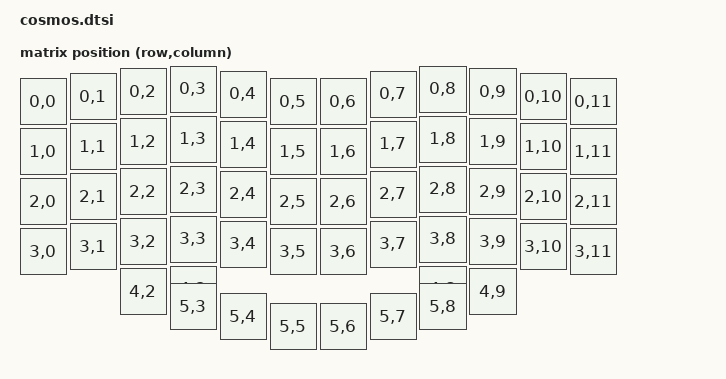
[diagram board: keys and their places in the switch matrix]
#include <dt-bindings/zmk/matrix_transform.h>
#include <physical_layouts.dtsi>

/ {
    chosen {
        zmk,kscan = &kscan0;
        zmk,physical-layout = &default_layout;
    };

    default_transform: keymap_transform_0 {
        compatible = "zmk,matrix-transform";
        columns = <12>;
        rows = <6>;
        map = <
        // Row 1 (numbers row, 6 keys per side)
        RC(0,0) RC(0,1) RC(0,2) RC(0,3) RC(0,4) RC(0,5) RC(0,6) RC(0,7) RC(0,8) RC(0,9) RC(0,10) RC(0,11)
        // Row 2
        RC(1,0) RC(1,1) RC(1,2) RC(1,3) RC(1,4) RC(1,5) RC(1,6) RC(1,7) RC(1,8) RC(1,9) RC(1,10) RC(1,11)
        // Row 3
        RC(2,0) RC(2,1) RC(2,2) RC(2,3) RC(2,4) RC(2,5) RC(2,6) RC(2,7) RC(2,8) RC(2,9) RC(2,10) RC(2,11)
        // Row 4
        RC(3,0) RC(3,1) RC(3,2) RC(3,3) RC(3,4) RC(3,5) RC(3,6) RC(3,7) RC(3,8) RC(3,9) RC(3,10) RC(3,11)
        // Row 5 (2 keys per side, cols 3-4)
        RC(4,2) RC(4,3)                                                         RC(4,8) RC(4,9)
        // Row 6 (thumb cluster, 3 keys per side, inner columns)
                                RC(5,3) RC(5,4) RC(5,5) RC(5,6) RC(5,7) RC(5,8)
        >;
    };

    // Approximate visual layout for ZMK Studio's key map editor. Positions use a
    // standard columnar-stagger curve rather than measured PCB coordinates, since
    // Studio requires a physical layout with a `keys` property (and no chosen
    // matrix-transform) to function - the coordinates only affect the on-screen
    // rendering, not scanning or key behavior. Order matches default_transform's map.
    default_layout: default_layout {
        compatible = "zmk,physical-layout";
        display-name = "Cosmos";
        transform = <&default_transform>;
        kscan = <&kscan0>;
        keys
            //                     w   h    x    y   rot  rx  ry
            = <&key_physical_attrs 100 100    0   10   0   0   0>  // RC(0,0)
            , <&key_physical_attrs 100 100  100    0   0   0   0>  // RC(0,1)
            , <&key_physical_attrs 100 100  200  (-10)   0   0   0>  // RC(0,2)
            , <&key_physical_attrs 100 100  300  (-15)   0   0   0>  // RC(0,3)
            , <&key_physical_attrs 100 100  400   (-5)   0   0   0>  // RC(0,4)
            , <&key_physical_attrs 100 100  500   10   0   0   0>  // RC(0,5)
            , <&key_physical_attrs 100 100  600   10   0   0   0>  // RC(0,6)
            , <&key_physical_attrs 100 100  700   (-5)   0   0   0>  // RC(0,7)
            , <&key_physical_attrs 100 100  800  (-15)   0   0   0>  // RC(0,8)
            , <&key_physical_attrs 100 100  900  (-10)   0   0   0>  // RC(0,9)
            , <&key_physical_attrs 100 100 1000    0   0   0   0>  // RC(0,10)
            , <&key_physical_attrs 100 100 1100   10   0   0   0>  // RC(0,11)
            , <&key_physical_attrs 100 100    0  110   0   0   0>  // RC(1,0)
            , <&key_physical_attrs 100 100  100  100   0   0   0>  // RC(1,1)
            , <&key_physical_attrs 100 100  200   90   0   0   0>  // RC(1,2)
            , <&key_physical_attrs 100 100  300   85   0   0   0>  // RC(1,3)
            , <&key_physical_attrs 100 100  400   95   0   0   0>  // RC(1,4)
            , <&key_physical_attrs 100 100  500  110   0   0   0>  // RC(1,5)
            , <&key_physical_attrs 100 100  600  110   0   0   0>  // RC(1,6)
            , <&key_physical_attrs 100 100  700   95   0   0   0>  // RC(1,7)
            , <&key_physical_attrs 100 100  800   85   0   0   0>  // RC(1,8)
            , <&key_physical_attrs 100 100  900   90   0   0   0>  // RC(1,9)
            , <&key_physical_attrs 100 100 1000  100   0   0   0>  // RC(1,10)
            , <&key_physical_attrs 100 100 1100  110   0   0   0>  // RC(1,11)
            , <&key_physical_attrs 100 100    0  210   0   0   0>  // RC(2,0)
            , <&key_physical_attrs 100 100  100  200   0   0   0>  // RC(2,1)
            , <&key_physical_attrs 100 100  200  190   0   0   0>  // RC(2,2)
            , <&key_physical_attrs 100 100  300  185   0   0   0>  // RC(2,3)
            , <&key_physical_attrs 100 100  400  195   0   0   0>  // RC(2,4)
            , <&key_physical_attrs 100 100  500  210   0   0   0>  // RC(2,5)
            , <&key_physical_attrs 100 100  600  210   0   0   0>  // RC(2,6)
            , <&key_physical_attrs 100 100  700  195   0   0   0>  // RC(2,7)
            , <&key_physical_attrs 100 100  800  185   0   0   0>  // RC(2,8)
            , <&key_physical_attrs 100 100  900  190   0   0   0>  // RC(2,9)
            , <&key_physical_attrs 100 100 1000  200   0   0   0>  // RC(2,10)
            , <&key_physical_attrs 100 100 1100  210   0   0   0>  // RC(2,11)
            , <&key_physical_attrs 100 100    0  310   0   0   0>  // RC(3,0)
            , <&key_physical_attrs 100 100  100  300   0   0   0>  // RC(3,1)
            , <&key_physical_attrs 100 100  200  290   0   0   0>  // RC(3,2)
            , <&key_physical_attrs 100 100  300  285   0   0   0>  // RC(3,3)
            , <&key_physical_attrs 100 100  400  295   0   0   0>  // RC(3,4)
            , <&key_physical_attrs 100 100  500  310   0   0   0>  // RC(3,5)
            , <&key_physical_attrs 100 100  600  310   0   0   0>  // RC(3,6)
            , <&key_physical_attrs 100 100  700  295   0   0   0>  // RC(3,7)
            , <&key_physical_attrs 100 100  800  285   0   0   0>  // RC(3,8)
            , <&key_physical_attrs 100 100  900  290   0   0   0>  // RC(3,9)
            , <&key_physical_attrs 100 100 1000  300   0   0   0>  // RC(3,10)
            , <&key_physical_attrs 100 100 1100  310   0   0   0>  // RC(3,11)
            , <&key_physical_attrs 100 100  200  390   0   0   0>  // RC(4,2)
            , <&key_physical_attrs 100 100  300  385   0   0   0>  // RC(4,3)
            , <&key_physical_attrs 100 100  800  385   0   0   0>  // RC(4,8)
            , <&key_physical_attrs 100 100  900  390   0   0   0>  // RC(4,9)
            , <&key_physical_attrs 100 100  300  420   0   0   0>  // RC(5,3)
            , <&key_physical_attrs 100 100  400  440   0   0   0>  // RC(5,4)
            , <&key_physical_attrs 100 100  500  460   0   0   0>  // RC(5,5)
            , <&key_physical_attrs 100 100  600  460   0   0   0>  // RC(5,6)
            , <&key_physical_attrs 100 100  700  440   0   0   0>  // RC(5,7)
            , <&key_physical_attrs 100 100  800  420   0   0   0>  // RC(5,8)
            ;
    };

    kscan0: kscan_0 {
        compatible = "zmk,kscan-gpio-matrix";
        wakeup-source;
        diode-direction = "row2col";
    };
};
